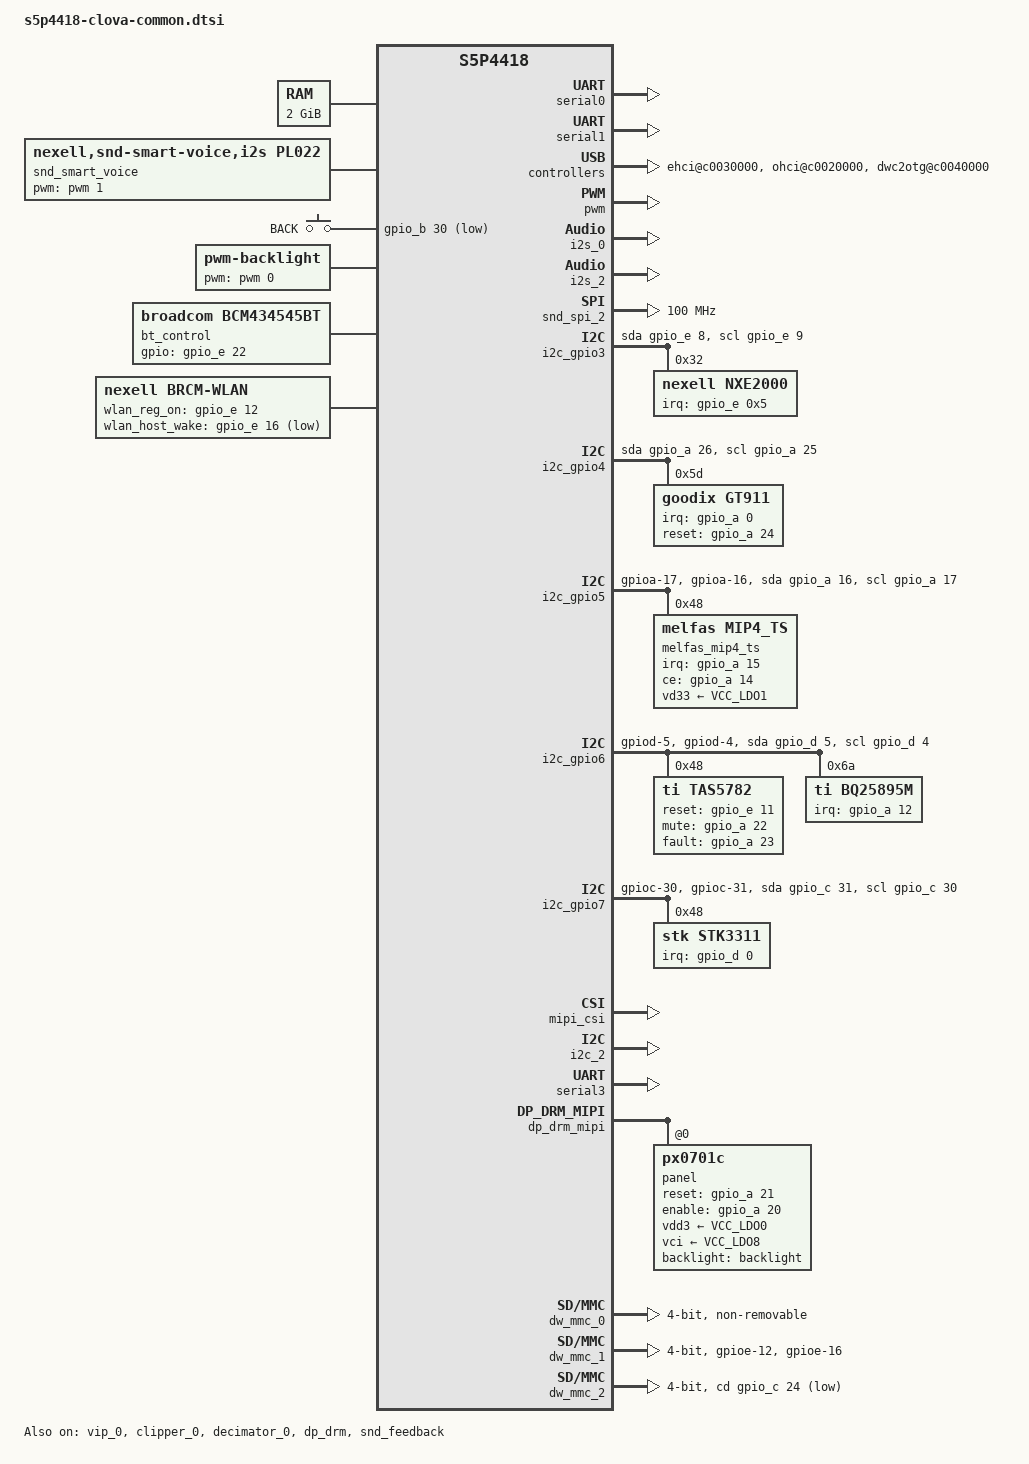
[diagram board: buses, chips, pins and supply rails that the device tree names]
/*
 * Copyright (C) 2017  Nexell Co., Ltd.
 * Author: Sungwoo, Park <swpark@nexell.co.kr>
 *
 * This program is free software; you can redistribute it and/or
 * modify it under the terms of the GNU General Public License
 * as published by the Free Software Foundation; either version 2
 * of the License, or (at your option) any later version.
 *
 * This program is distributed in the hope that it will be useful,
 * but WITHOUT ANY WARRANTY; without even the implied warranty of
 * MERCHANTABILITY or FITNESS FOR A PARTICULAR PURPOSE.  See the
 * GNU General Public License for more details.
 *
 * You should have received a copy of the GNU General Public License
 * along with this program.  If not, see <http://www.gnu.org/licenses/>.
 */

#include <dt-bindings/interrupt-controller/irq.h>
#include <dt-bindings/gpio/gpio.h>
#include <dt-bindings/input/input.h>
#include "nxp4330.dtsi"

/ {
	memory {
		device_type = "memory";
		reg = <0x40000000 0x80000000>;
	};

	psci {
		compatible = "arm,psci-0.2";
		method = "smc";
	};

	aliases {
		i2c3 = &i2c_gpio3;
		i2c4 = &i2c_gpio4;
		i2c5 = &i2c_gpio5;
		i2c6 = &i2c_gpio6;
	};

	nx-v4l2 {
		status = "okay";
	};

	soc {
		#include "s5p4418-pinctrl.dtsi"

		clocks {
			vip0:vip@c00c1000 {
				clock-frequency = <300000000>;
			};
			uart1:uart@c00a8000 {
				clock-frequency = <147500000>;
			};
			uart3:uart@c00ab000 {
				clock-frequency = <147500000>;
			};

			pwm0:pwm0@c00ba000 {
				clk-input = <I_PLL2>;
				clock-frequency = <10000000>;
			};

			pwm1:pwm1@c00ba000 {
				clk-input = <I_PLL0>;
				clock-frequency =<80000000>;
			};
		};

		pinctrl@C0010000 {
			/delete-node/ mpegts_cap0_data_clk_parallel;
			/delete-node/ nand_ale;
			/delete-node/ spdiftx_pin;
			i2c_gpio5_sda: i2c5_sda {
				nexell,pins = "gpioa-16";
				nexell,pin-function = <0>;
				nexell,pin-pull = <1>;
				nexell,pin-strength = <0>;
			};
			i2c_gpio5_scl: i2c5_scl {
				nexell,pins = "gpioa-17";
				nexell,pin-function = <0>;
				nexell,pin-pull = <1>;
				nexell,pin-strength = <0>;
			};
			i2c_gpio6_sda: i2c6_scl {
				nexell,pins = "gpiod-4";
				nexell,pin-function = <0>;
				nexell,pin-pull = <1>;
				nexell,pin-strength = <3>;
			};
			i2c_gpio6_scl: i2c6_sda {
				nexell,pins = "gpiod-5";
				nexell,pin-function = <0>;
				nexell,pin-pull = <1>;
				nexell,pin-strength = <3>;
			};
			i2c_gpio7_sda: i2c7_sda {
				nexell,pins = "gpioc-31";
				nexell,pin-function = <0>;
				nexell,pin-pull = <1>;
				nexell,pin-strength = <3>;
			};
			i2c_gpio7_scl: i2c7_scl {
				nexell,pins = "gpioc-30";
				nexell,pin-function = <0>;
				nexell,pin-pull = <1>;
				nexell,pin-strength = <3>;
			};
			bt_cfg_en:bt_cfg_en {
				nexell,pins = "gpioe-22";
				nexell,pin-function = <0>;
				nexell,pin-pull = <2>;
				nexell,pin-strength = <0>;
			};
			bq25895m_irq:bq25895m-irq {
				nexell,pins = "gpioa-12";
				nexell,pin-function = <0>;
				nexell,pin-pull = <1>;
				nexell,pin-strength = <0>;
			};
			key_back:key_back {
				nexell,pins = "gpiob-30";
				nexell,pin-function = <1>;
				nexell,pin-pull = <1>;
				nexell,pin-strength = <0>;
			};
			cfg_wlanen: cfg-wlanen {
				nexell,pins ="gpioe-12";
				nexell,pin-function = <0>;
				nexell,pin-pull = <2>;
				nexell,pin-strength = <0>;
			};

			cfg_wlanhostwake: cfg-wlanhostwake {
				nexell,pins = "gpioe-16";
				nexell,pin-function = <0>;
				nexell,pin-pull = <1>;
				nexell,pin-strength = <0>;
			};

		};

		l2:l2-cache-controller@cf000000 {
			arm,prefetch-offset = <7>;
			prefetch-data = <1>;
			prefetch-instr = <1>;
			arm,tag-latency = <3 4 3>;
			arm,data-latency = <3 4 3>;
		};

		dynamic-freq@bb000 {
			supply_name = "vdd_core_regulator";
			vdd_core_regulator-supply = <&VCC_DCDC0>;
		};

		amba {
			pl08xdma0:pl08xdma@c0000000 {
				use_isr;
			};

			pl08xdma1:pl08xdma@c0001000 {
				use_isr;
			};
		};
		serial0:serial@c00a1000 {
			dmas = <&pl08xdma0 2 0>, <&pl08xdma0 3 0>;
			dma-names = "tx", "rx";
			status ="okay";
		};

		serial1:serial@c00a0000 {
			dmas = <&pl08xdma0 0 0>, <&pl08xdma0 1 0>;
			dma-names = "tx", "rx";
			pinctrl-0 = <&serial1_pin>, <&serial1_flow_cts>,
						<&serial1_flow_rts>;
			status ="okay";
		};

		watchdog@c0019000 {
			status = "okay";
		};

		rtc@c0010c00 {
			status = "okay";
		};

		nexell_usbphy: nexell-usbphy@c0012000 {
			status = "okay";
		};

		ehci@c0030000 {
			status = "okay";
			port@0 {
				status = "okay";
			};
		};

		ohci@c0020000 {
			status = "okay";
			port@0 {
				status = "okay";
			};
		};

		dwc2otg@c0040000 {
			status = "okay";
		};

		timer@c0017000 {
			clocks =  <&timer0>, <&timer1>;
			clock-names = "timer0", "timer1";
		};

		pwm:pwm@c0018000 {
			clock-names = "timers", "pwm-tclk0", "pwm-tclk1";
			clocks =  <&pclk>, <&pwm0>, <&pwm1>;
			pinctrl-names = "default";
			pinctrl-0 = <&pwm0_pin &pwm1_pin>;
			samsung,pwm-outputs = <0>, <1>;
			status = "okay";
		};

		i2s_0:i2s@c0055000 {
			#sound-dai-cells = <1>;
			master-mode = <1>;
			mclk-in = <0>;
			trans-mode = <0>;
			frame-bit = <32>;
			sample-rate = <48000>;
			pre-supply-mclk = <1>;
			status = "okay";
		};

		i2s_2:i2s@c0057000 {
			#sound-dai-cells = <1>;
			master-mode = <0>;
			mclk-in = <1>;
			trans-mode = <0>;
			frame-bit = <32>;
			sample-rate = <48000>;
			pre-supply-mclk = <0>;
			status = "okay";
		};

		snd_spi_2:snd_spi@c005f000 {
			data-bit = <16>;
			clock-frequency = <100000000>;
			clock-invert = <1>;
			clock-phase = <1>;
			status = "okay";
		};

		scaler@c0066000 {
			status = "okay";
		};
	}; /*** soc ***/

	snd_smart_voice: snd_smart_voice@0 {
		#sound-dai-cells = <0>;
		compatible = "nexell,snd-smart-voice,i2s,pl022";
		#address-cells = <1>;
		#size-cells = <0>;
		pwms = <&pwm 1 125 0>;
		gpio_regs = < PHYS_BASE_GPIOA 0x1000
			PHYS_BASE_GPIOB 0x1000
			PHYS_BASE_GPIOC 0x1000
			PHYS_BASE_GPIOD 0x1000
			PHYS_BASE_GPIOE 0x1000
			PHYS_BASE_ALIVE 0x200>;

		cpu-dais = <2>; /* i2s:1EA, spi:1EA */
		pin {
			spi-cs-gpio = <&gpio_c 16 0>;
			pdm-isrun-gpio = <&gpio_e 14 0>;
			pdm-lrck-gpio = <&gpio_b 26 0>;
			i2s-lrck-gpio = <&gpio_b 4 0>;
			pdm-nrst-gpio = <&gpio_e 15 0>;
		};
	};

	snd_null: snd_null@10 {
		#sound-dai-cells = <0>;
		compatible = "nexell,snd-null";
		#address-cells = <1>;
		#size-cells = <0>;
		reg = <0 0>;
	};

	snd_feedback: snd_feedback@0 {
		#sound-dai-cells = <1>;
		compatible = "nexell,snd-feedback";
		#address-cells = <1>;
		#size-cells = <0>;
		reg = <0 0>;
		status = "okay";
	};

	sound {
		compatible = "nexell,simple-audio-card";
		simple-audio-card,name = "s5p4418 clova Audio";
		simple-audio-card,mclk-fs = <256>;
		simple-audio-card,widgets =
			"Headphone", "Out Jack",
			"Microphone", "In Jack";
		status = "okay";

		simple-audio-card,dai-link@0 {
			format = "i2s";
			cpu {
				sound-dai = <&i2s_0 0>;
			};

			codec {
				sound-dai = <&tas5782>;
	 		};
		};

		simple-audio-card,dai-link@1 {
			format = "i2s";
			cpu {
				sound-dai = <&i2s_2 0>;
			};

			codec {
				sound-dai = <&snd_smart_voice>;
			};
		};

		simple-audio-card,dai-link@2 {
			format = "spi";
			cpu {
				sound-dai = <&snd_spi_2 0>;
			};

			codec {
				sound-dai = <&snd_smart_voice>;
			};
		};

		simple-audio-card,dai-link@3 {
			format = "i2s";
			cpu {
				sound-dai = <&snd_feedback 0>;
			};

			codec {
				sound-dai = <&snd_null>;
			};
		};
	};

	i2c_gpio3: i2c@3 {
		status = "disabled";
	};

	i2c_gpio4: i2c@4 {
		status = "disabled";
	};

	i2c_gpio5: i2c@5 {
		status = "disabled";
	};

	i2c_gpio6: i2c@6 {
		status = "disabled";
	};
	i2c_gpio7: i2c@7 {
		status = "disabled";
	};

	gpio_key: gpio_keys {
		compatible = "gpio-keys";
		#address-cells = <1>;
		#size-cells = <0>;
		pinctrl-names = "default";
		pinctrl-0 = <&key_back>;

		back {
			label = "BACK";
			gpios = <&gpio_b 30 1>;
			linux,code = <KEY_BACK>;
		};
	};


	nexell-ion@0 {
		compatible = "nexell,ion";

		heap_sys_user@0 {
			heap-type = "ion_system";
		};

		heap_sys_contig@0 {
			heap-type = "ion_system_contig";
		};

		heap_dma@0 {
			heap-type = "ion_dma";
		};
	};

	backlight: pwm-backlight {
		compatible = "pwm-backlight";
		pwm-names = "pwm-backlight";
		pwms = <&pwm 0 50000 1>;
		brightness-levels = <
			128 128 129 129 130 130 131 131 132 132
			133 133 134 134 135 135 136 136 137 137
			138 138 139 139 140 140 141 141 142 142
			143 143 144 144 145 145 146 146 147 147
			148 148 149 149 150 150 151 151 152 152
			153 153 154 154 155 155 156 156 157 157
			158 158 159 159 160 160 161 161 162 162
			163 163 164 164 165 165 166 166 167 167
			168 168 169 169 170 170 171 171 172 172
			173 173 174 174 175 175 176 176 177 177
			178 178 179 179 180 180 181 181 182 182
			183 183 184 184 185 185 186 186 187 187
			188 188 189 189 190 190 191 191 192 192
			193 193 194 194 195 195 196 196 197 197
			198 198 199 199 200 200 201 201 202 202
			203 203 204 204 205 205 206 206 207 207
			208 208 209 209 210 210 211 211 212 212
			213 213 214 214 215 215 216 216 217 217
			218 218 219 219 220 220 221 221 222 222
			223 223 224 224 225 225 226 226 227 227
			228 228 229 229 230 230 231 231 232 232
			233 233 234 234 235 235 236 236 237 237
			238 238 239 239 240 240 241 241 242 242
			243 243 244 244 245 245 246 246 247 247
			248 248 249 249 250 250 251 251 252 252
			253 253 254 254 255 255
			>;
		default-brightness-level = <200>;
		status = "okay";
	};
	bt_control {
		compatible = "broadcom,bcm434545bt";
		gpios = <&gpio_e 22 0>;   /* GPIOE11 = BT_EN, output */
		pinctrl-names = "default";
		pinctrl-0 = <&bt_cfg_en>;
		status = "okay";
	};
	wlan {
		compatible = "nexell,brcm-wlan";
		wlan_reg_on = <&gpio_e 12 0>;
		wlan_host_wake = <&gpio_e 16 1>;
		status = "okay";
	};
};

&vip_0 {
	status = "okay";
};

&mipi_csi {
	data_lane = <2>;
	pllval = <750>;
	hssettle = <2>;
	interrupts = <IRQ_MIPI>;
	status = "okay";
};

&i2c_2 {
	status = "okay";
};

&clipper_0 {
	interface_type = <NX_CAPTURE_INTERFACE_MIPI_CSI>;
	gpios = <&gpio_a 18 0 &gpio_a 19 0>;
	/* sensor output order: default-MEDIA_BUS_FMT_UYVY- NX_VIN_CBY0CRY1 */
	data_order = <NX_VIN_Y0CBY1CR>;
	interlace = <0>;
	status = "okay";
	sensor {
		type = <NX_CAPTURE_SENSOR_I2C>;
		i2c_name = "ov5640";
		i2c_adapter = <2>;
		addr = <0x3C>;
	};
	power {
		enable_seq = <
			NX_ACTION_START NX_ACTION_TYPE_GPIO 0 1 10 0 10 NX_ACTION_END
			NX_ACTION_START NX_ACTION_TYPE_GPIO 1 0 10 1 40 NX_ACTION_END
			>;
		disable_seq = <
			NX_ACTION_START NX_ACTION_TYPE_GPIO 1 0 1 NX_ACTION_END
			NX_ACTION_START NX_ACTION_TYPE_GPIO 0 1 1 NX_ACTION_END
			>;
	};
};

&decimator_0 {
	status = "okay";
};

&serial3 {
	status = "okay";
};

&dp_drm {
	status = "okay";
	ports {
		port@0 {
			reg = <0>;
			back_color = < 0x0 >;
			color_key = < 0x0 >;
			plane-names = "rgb", "primary", "video";
		};
		port@1 {
			reg = <1>;
			back_color = < 0x0 >;
			color_key = < 0x0 >;
			plane-names = "primary", "video";
		};
	};
};

&dp_drm_mipi {
	hs_bitrate = <420>;
	lp_bitrate = <100>;
	status = "ok";

	panel@0 {
		compatible = "px0701c";
		backlight = <&backlight>;
		reg = <0>;
		vdd3-supply = <&VCC_LDO0>;
		vci-supply = <&VCC_LDO8>;
		reset-gpio = <&gpio_a 21 0>;
		enable-gpio = <&gpio_a 20 0>;
		power-on-delay= <50>;
		reset-delay = <100>;
		init-delay = <100>;
		display-timings {
			timing-0 {
				clock-frequency = <67161600>;
				hactive = <800>;
				vactive = <1280>;
				hfront-porch = <40>;
				hback-porch = <40>;
				hsync-len = <4>;
				vfront-porch = <16>;
				vback-porch = <22>;
				vsync-len = <2>;
			};
		};
	};

	dp_control {
		clk_src_lv0 = <0>;
		clk_div_lv0 = <12>;
		clk_src_lv1 = <7>;
		clk_div_lv1 = <1>;
		out_format = <3>;
		vs_start_offset = <0>;
		ev_start_offset = <0>;
		vs_end_offset = <0>;
		ev_end_offset = <0>;
	};
};

&dw_mmc_0 {
	num-slots = <1>;
	bus-width = <4>;
	cap-mmc-highspeed;
	broken-cd;
	non-removable;
	clock-frequency = <100000000>;
	card-detect-delay = <200>;
	disable-wp;
	nexell,drive_dly = <0x0>;
	nexell,drive_shift = <0x02>;
	nexell,sample_dly = <0x00>;
	nexell,sample_shift = <0x01>;
	status = "okay";
};
&dw_mmc_1 {
 	num-slots = <1>;
	 bus-width = <4>;
	 cap-sd-highspeed;
	 cd-type-external;
	 broken-cd;
	 pm-ignore-notify;
	 keep-power-in-suspend;
	 powered-resumed-nonremovable-card;
	 cd-type = <2>;
	 clock-frequency = <100000000>;
	 nexell,drive_dly = <0x0>;
	 nexell,drive_shift = <0x02>;
	 nexell,sample_dly = <0x00>;
	 nexell,sample_shift = <0x01>;

	 pinctrl-names = "default";
	 pinctrl-0 = <&sdmmc1_cclk &sdmmc1_cmd &sdmmc1_bus4
		&cfg_wlanen &cfg_wlanhostwake>;

	 status = "okay";
};

&dw_mmc_2 {
	num-slots = <1>;
	bus-width = <4>;
	cap-sd-highspeed;
	clock-frequency = <100000000>;
	card-detect-delay = <200>;
	disable-wp;
	cd-gpios = <&gpio_c 24 0>;
	cd-inverted;
	nexell,drive_dly = <0x0>;
	nexell,drive_shift = <0x02>;
	nexell,sample_dly = <0x00>;
	nexell,sample_shift = <0x01>;
	status = "okay";
};

&i2c_gpio4 {
	compatible = "i2c-gpio";
	gpios=<&gpio_a 26 0	/* SDA */
	      &gpio_a 25 0>;	/* SCL */
	status = "okay";
	#address-cells = <1>;
	#size-cells = <0>;

	goodix@5d {
		compatible = "goodix,gt911";
		reg = <0x5d>;
		interrupt-parent = <&gpio_a>;
		interrupts = <0 IRQ_TYPE_EDGE_FALLING>;
		irq-gpios = <&gpio_a 0 0>;
		reset-gpios = <&gpio_a 24 0>;
		touchscreen-inverted-x;
	};
};

&i2c_gpio5 {
	compatible = "i2c-gpio";
	gpios=<&gpio_a 16 0 /* SDA */
			&gpio_a 17 0>;    /* SCL */
	pinctrl-names = "default";
	pinctrl-0 = <&i2c_gpio5_scl &i2c_gpio5_sda >;
	status = "okay";
	#address-cells = <1>;
	#size-cells = <0>;

	melfas_mip4_ts@48 {
		compatible = "melfas,mip4_ts";
		reg = <0x48>;
		interrupt-parent = <&gpio_a>;
		interrupts = <15 0>;
		vd33-supply = <&VCC_LDO1>;
		irq-gpio = <&gpio_a 15 0x0>;
		ce-gpio = <&gpio_a 14 0x0>;
	};
};

/* &i2c_1 { */
&i2c_gpio6 {
	compatible = "i2c-gpio";
	gpios=<&gpio_d 5 0 /* SDA */
			&gpio_d 4 0>;    /* SCL */
	pinctrl-names = "default";
	pinctrl-0 = <&i2c_gpio6_scl &i2c_gpio6_sda >;
	status = "okay";
	#address-cells = <1>;
	#size-cells = <0>;

	tas5782: tas5782@48 {
		#sound-dai-cells = <0>;
		compatible = "ti,tas5782";
		reg = <0x48>;
		reset-gpios = <&gpio_e 11 0>;
		mute-gpios = <&gpio_a 22 0>;
		fault-gpios = <&gpio_a 23 0>;
	};
	bq25895m: bq2589m@6a {
		compatible = "ti,bq25895m";
		reg = <0x6a>;
		interrupt-parent = <&gpio_a>;
        interrupts = <12 IRQ_TYPE_EDGE_FALLING>;
        pinctrl-names = "default";
        pinctrl-0 = <&bq25895m_irq>;

		ti,battery-regulation-voltage = <4200000>;
		ti,charge-current = <1000000>;
		ti,termination-current = <50000>;
		ti,precharge-current = <128000>;
		ti,minimum-sys-voltage = <3600000>;
		ti,boost-voltage = <5000000>;
		ti,boost-max-current = <1000000>;

		ti,use-ilim-pin;
		ti,thermal-regulation-threshold = <120>;
	};

};

&i2c_gpio7 {
	compatible = "i2c-gpio";
	gpios=<&gpio_c 31 0 /* SDA */
			&gpio_c 30 0>;    /* SCL */
	pinctrl-names = "default";
	pinctrl-0 = <&i2c_gpio7_scl &i2c_gpio7_sda >;
	status = "okay";
	#address-cells = <1>;
	#size-cells = <0>;
	stk3311: stk3311@48 {
		#sound-dai-cells = <0>;
		compatible = "stk,stk3311";
		reg = <0x48>;
		interrupt-parent = <&gpio_d>;
		interrupts = <0 0>;
	};
};

#define PMIC_PDATA_INIT(_id, _rname, _minuv,	\
			_maxuv, _init_uv, _init_enable,		\
			_set_init_uV, _slp_slots)	\
		regulator-name = _rname;		\
		regulator-min-microvolt = <_minuv>;	\
		regulator-max-microvolt = <_maxuv>;	\
		nx,id = <_id>;				\
		nx,init_enable = <_init_enable>;	\
		nx,init_uV = <_init_uv>;		\
		nx,set_init_uV = <_set_init_uV>;	\
		nx,sleep_slots = <_slp_slots>;


&i2c_gpio3 {
	compatible = "i2c-gpio";
	gpios = <&gpio_e 8 0		/* SDA */
		 &gpio_e 9 0>;		/* SCL */
	#address-cells = <1>;
	#size-cells = <0>;
	status = "okay";

	nxe2000@32 {
		compatible = "nexell,nxe2000";
		reg = <0x32>;
		interrupt-parent = <&gpio_e>;
		interrupts = <0x5 IRQ_TYPE_EDGE_FALLING>;

		regulators {
			VCC_DCDC0:
				dcdc1	{ PMIC_PDATA_INIT( 0,
					"nxe2000_dcdc1",
					900000, 1500000,
					1100000, 1, 0, 0x4)
					regulator-always-on;
					regulator-boot-on;};
			VCC_DCDC1:
				dcdc2	{ PMIC_PDATA_INIT( 1,
					"nxe2000_dcdc2",
					1000000, 1500000,
					1200000, 1, 0, 0x4)
					regulator-always-on;
					regulator-boot-on;};
			VCC_DCDC2:
				dcdc3	{ PMIC_PDATA_INIT( 2,
					"nxe2000_dcdc3",
					1000000, 3500000,
					3300000, 1, 1, 0x0)
					regulator-always-on;
					regulator-boot-on;};
			VCC_DCDC3:
				dcdc4	{ PMIC_PDATA_INIT( 3,
					"nxe2000_dcdc4",
					1000000, 2000000,
					1500000, 1, 0, 0xF)
					regulator-always-on;
					regulator-boot-on;};
			VCC_DCDC4:
				dcdc5	{ PMIC_PDATA_INIT( 4,
					"nxe2000_dcdc5",
					1000000, 2000000,
					1500000, 1, 0, 0x4)
					regulator-always-on;
					regulator-boot-on;};
			VCC_LDO0:
				ldo1	{ PMIC_PDATA_INIT( 5,
					"nxe2000_ldo1",
					1000000, 3500000,
					2800000, 1, 1, 0x0)
					regulator-boot-on;};
			VCC_LDO1:
				ldo2	{ PMIC_PDATA_INIT( 6,
					"nxe2000_ldo2",
					1000000, 3500000,
					3300000, 1, 1, 0x0)
					regulator-boot-on;};
			VCC_LDO2:
				ldo3	{ PMIC_PDATA_INIT( 7,
					"nxe2000_ldo3",
					1000000, 3500000,
					1800000, 1, 1, 0x2)
					regulator-always-on;
					regulator-boot-on;};
			VCC_LDO3:
				ldo4	{ PMIC_PDATA_INIT( 8,
					"nxe2000_ldo4",
					1000000, 3500000,
					1800000, 1, 1, 0x2)
					regulator-boot-on;};
			VCC_LDO4:
				ldo5	{ PMIC_PDATA_INIT( 9,
					"nxe2000_ldo5",
					1000000, 3500000,
					3300000, 0, 1, 0x0)
					regulator-boot-on;};
			VCC_LDO5:
				ldo6	{ PMIC_PDATA_INIT(10,
					"nxe2000_ldo6",
					1000000, 3500000,
					3300000, 1, 1, 0xF)
					regulator-always-on;
					regulator-boot-on;};
			VCC_LDO6:
				ldo7	{ PMIC_PDATA_INIT(11,
					"nxe2000_ldo7",
					1000000, 3500000,
					2800000, 0, 1, 0x1)
					regulator-boot-on;};
			VCC_LDO7:
				ldo8	{ PMIC_PDATA_INIT(12,
					"nxe2000_ldo8",
					1000000, 3500000,
					3300000, 0, 1, 0x0)
					regulator-boot-on;};
			VCC_LDO8:
				ldo9	{ PMIC_PDATA_INIT(13,
					"nxe2000_ldo9",
					1000000, 3500000,
					1800000, 1, 1, 0x0)
					regulator-boot-on;};
			VCC_LDO9:
				ldo10	{ PMIC_PDATA_INIT(14,
					"nxe2000_ldo10",
					1000000, 3500000,
					1000000, 1, 1, 0x0)
					regulator-always-on;
					regulator-boot-on;};
			VCC_RTC0:
				ldortc1	{ PMIC_PDATA_INIT(15,
					"nxe2000_rtc1",
					1700000, 3500000,
					1800000, 1, 1, 0xF)
					regulator-always-on;
					regulator-boot-on;};
			VCC_RTC1:
				ldortc2	{ PMIC_PDATA_INIT(16,
					"nxe2000_rtc2",
					1000000, 3500000,
					1000000, 1, 1, 0xF)
					regulator-always-on;
					regulator-boot-on;};
		}; /* regulators */
	}; /* nxe2000@32 */
}; /* i2c_gpio3 */
